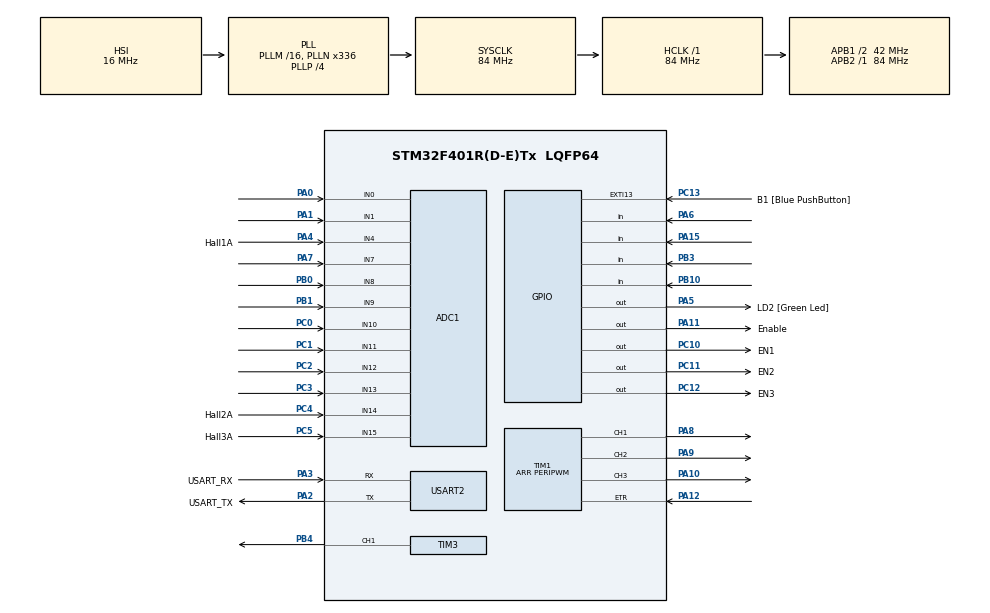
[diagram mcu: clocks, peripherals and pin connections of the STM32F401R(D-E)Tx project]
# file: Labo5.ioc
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ADC1.Channel-0\#ChannelRegularConversion=ADC_CHANNEL_9
ADC1.Channel-1\#ChannelRegularConversion=ADC_CHANNEL_4
ADC1.Channel-2\#ChannelRegularConversion=ADC_CHANNEL_14
ADC1.Channel-3\#ChannelRegularConversion=ADC_CHANNEL_15
ADC1.DMAContinuousRequests=ENABLE
ADC1.EOCSelection=ADC_EOC_SEQ_CONV
ADC1.ExternalTrigConv=ADC_EXTERNALTRIGCONV_T4_CC4
ADC1.ExternalTrigConvEdge=ADC_EXTERNALTRIGCONVEDGE_RISINGFALLING
ADC1.NbrOfConversion=4
ADC1.NbrOfConversionFlag=1
ADC1.Rank-0\#ChannelRegularConversion=1
ADC1.Rank-1\#ChannelRegularConversion=2
ADC1.Rank-2\#ChannelRegularConversion=3
ADC1.Rank-3\#ChannelRegularConversion=4
ADC1.SamplingTime-0\#ChannelRegularConversion=ADC_SAMPLETIME_15CYCLES
ADC1.SamplingTime-1\#ChannelRegularConversion=ADC_SAMPLETIME_84CYCLES
ADC1.SamplingTime-2\#ChannelRegularConversion=ADC_SAMPLETIME_84CYCLES
ADC1.SamplingTime-3\#ChannelRegularConversion=ADC_SAMPLETIME_84CYCLES
ADC1.ScanConvMode=ENABLE
ADC1.master=1
Dma.ADC1.0.Direction=DMA_PERIPH_TO_MEMORY
Dma.ADC1.0.FIFOMode=DMA_FIFOMODE_DISABLE
Dma.ADC1.0.Instance=DMA2_Stream0
Dma.ADC1.0.MemDataAlignment=DMA_MDATAALIGN_HALFWORD
Dma.ADC1.0.MemInc=DMA_MINC_ENABLE
Dma.ADC1.0.Mode=DMA_CIRCULAR
Dma.ADC1.0.PeriphDataAlignment=DMA_PDATAALIGN_HALFWORD
Dma.ADC1.0.PeriphInc=DMA_PINC_DISABLE
Dma.ADC1.0.Priority=DMA_PRIORITY_LOW
Dma.Request0=ADC1
Mcu.Family=STM32F4
Mcu.Name=STM32F401R(D-E)Tx
Mcu.Package=LQFP64
Mcu.UserConstants=PERIPWM,1050
NVIC.DMA2_Stream0_IRQn=true\:0\:0\:false\:false\:true\:false\:true\:true
NVIC.PriorityGroup=NVIC_PRIORITYGROUP_0
PA0-WKUP.GPIO_Mode=GPIO_MODE_ANALOG
PA0-WKUP.GPIO_PuPd=GPIO_NOPULL
PA0-WKUP.Signal=ADCx_IN0
PA1.Signal=ADCx_IN1
PA10.Signal=S_TIM1_CH3
PA11.GPIO_Label=Enable
PA11.Signal=GPIO_Output
PA12.Signal=S_TIM1_ETR
PA13.GPIO_Label=TMS
PA13.Mode=Serial_Wire
PA13.Signal=SYS_JTMS-SWDIO
PA14.GPIO_Label=TCK
PA14.Mode=Serial_Wire
PA14.Signal=SYS_JTCK-SWCLK
PA15.Signal=GPIO_Input
PA2.GPIO_Label=USART_TX
PA2.GPIO_Mode=GPIO_MODE_AF_PP
PA2.GPIO_PuPd=GPIO_NOPULL
PA2.GPIO_Speed=GPIO_SPEED_FREQ_LOW
PA2.Mode=Asynchronous
PA2.Signal=USART2_TX
PA3.GPIO_Label=USART_RX
PA3.GPIO_Mode=GPIO_MODE_AF_PP
PA3.GPIO_PuPd=GPIO_NOPULL
PA3.GPIO_Speed=GPIO_SPEED_FREQ_LOW
PA3.Mode=Asynchronous
PA3.Signal=USART2_RX
PA4.GPIO_Label=Hall1A
PA4.Signal=ADCx_IN4
PA5.GPIO_Label=LD2 [Green Led]
PA5.GPIO_Mode=GPIO_MODE_OUTPUT_PP
PA5.GPIO_PuPd=GPIO_NOPULL
PA5.GPIO_Speed=GPIO_SPEED_FREQ_LOW
PA5.Signal=GPIO_Output
PA6.Signal=GPIO_Input
PA7.Signal=ADCx_IN7
PA8.Signal=S_TIM1_CH1
PA9.Signal=S_TIM1_CH2
PB0.Signal=ADCx_IN8
PB1.Signal=ADCx_IN9
PB10.Signal=GPIO_Input
PB3.Signal=GPIO_Input
PB4.Signal=S_TIM3_CH1
PC0.Signal=ADCx_IN10
PC1.Signal=ADCx_IN11
PC10.GPIO_Label=EN1
PC10.Signal=GPIO_Output
PC11.GPIO_Label=EN2
PC11.Signal=GPIO_Output
PC12.GPIO_Label=EN3
PC12.Signal=GPIO_Output
PC13-ANTI_TAMP.GPIO_Label=B1 [Blue PushButton]
PC13-ANTI_TAMP.GPIO_ModeDefaultEXTI=GPIO_MODE_IT_FALLING
PC13-ANTI_TAMP.GPIO_PuPd=GPIO_NOPULL
PC13-ANTI_TAMP.Signal=GPXTI13
PC14-OSC32_IN.Mode=LSE-External-Oscillator
PC14-OSC32_IN.Signal=RCC_OSC32_IN
PC15-OSC32_OUT.Mode=LSE-External-Oscillator
PC15-OSC32_OUT.Signal=RCC_OSC32_OUT
PC2.Signal=ADCx_IN12
PC3.Signal=ADCx_IN13
PC4.GPIO_Label=Hall2A
PC4.Signal=ADCx_IN14
PC5.GPIO_Label=Hall3A
PC5.Signal=ADCx_IN15
PH0\ -\ OSC_IN.Mode=HSE-External-Clock-Source
PH0\ -\ OSC_IN.Signal=RCC_OSC_IN
PH1\ -\ OSC_OUT.Mode=HSE-External-Clock-Source
PH1\ -\ OSC_OUT.Signal=RCC_OSC_OUT
ProjectManager.HeapSize=0x200
ProjectManager.StackSize=0x400
ProjectManager.TargetToolchain=STM32CubeIDE
RCC.48MHZClocksFreq_Value=48000000
RCC.AHBFreq_Value=84000000
RCC.APB1CLKDivider=RCC_HCLK_DIV2
RCC.APB1Freq_Value=42000000
RCC.APB1TimFreq_Value=84000000
RCC.APB2Freq_Value=84000000
RCC.APB2TimFreq_Value=84000000
RCC.CortexFreq_Value=84000000
RCC.HCLKFreq_Value=84000000
RCC.HSE_VALUE=8000000
RCC.HSI_VALUE=16000000
RCC.PLLN=336
RCC.PLLP=RCC_PLLP_DIV4
RCC.PLLQ=7
RCC.SYSCLKFreq_VALUE=84000000
RCC.SYSCLKSource=RCC_SYSCLKSOURCE_PLLCLK
RCC.VCOOutputFreq_Value=336000000
SH.ADCx_IN0.0=ADC1_IN0,IN0
SH.ADCx_IN1.0=ADC1_IN1,IN1
SH.ADCx_IN10.0=ADC1_IN10,IN10
SH.ADCx_IN11.0=ADC1_IN11,IN11
SH.ADCx_IN12.0=ADC1_IN12,IN12
SH.ADCx_IN13.0=ADC1_IN13,IN13
SH.ADCx_IN14.0=ADC1_IN14,IN14
SH.ADCx_IN15.0=ADC1_IN15,IN15
SH.ADCx_IN4.0=ADC1_IN4,IN4
SH.ADCx_IN7.0=ADC1_IN7,IN7
SH.ADCx_IN8.0=ADC1_IN8,IN8
SH.ADCx_IN9.0=ADC1_IN9,IN9
SH.S_TIM1_CH1.0=TIM1_CH1,PWM Generation1 CH1
SH.S_TIM1_CH2.0=TIM1_CH2,PWM Generation2 CH2
SH.S_TIM1_CH3.0=TIM1_CH3,PWM Generation3 CH3
SH.S_TIM1_ETR.0=TIM1_ETR,ETR-as-clearing-source
SH.S_TIM3_CH1.0=TIM3_CH1,PWM Generation1 CH1
TIM1.Channel-PWM\ Generation1\ CH1=TIM_CHANNEL_1
TIM1.Channel-PWM\ Generation2\ CH2=TIM_CHANNEL_2
TIM1.Channel-PWM\ Generation3\ CH3=TIM_CHANNEL_3
TIM1.CounterMode=TIM_COUNTERMODE_CENTERALIGNED1
TIM1.Period=PERIPWM
TIM1.TIM_MasterOutputTrigger=TIM_TRGO_ENABLE
TIM1.TIM_MasterSlaveMode=TIM_MASTERSLAVEMODE_ENABLE
TIM3.Channel-PWM\ Generation1\ CH1=TIM_CHANNEL_1
TIM3.CounterMode=TIM_COUNTERMODE_CENTERALIGNED1
TIM3.Period=PERIPWM
TIM3.TIM_MasterOutputTrigger=TIM_TRGO_UPDATE
TIM3.TIM_MasterSlaveMode=TIM_MASTERSLAVEMODE_ENABLE
TIM4.Channel-Output\ Compare4\ No\ Output=TIM_CHANNEL_4
TIM4.CounterMode=TIM_COUNTERMODE_CENTERALIGNED1
TIM4.OCMode_4=TIM_OCMODE_TOGGLE
TIM4.Period=PERIPWM
TIM4.Prescaler=1
USART2.VirtualMode=VM_ASYNC
VP_TIM1_VS_ClockSourceINT.Mode=Internal
VP_TIM3_VS_ClockSourceINT.Mode=Internal
VP_TIM4_VS_ClockSourceINT.Mode=Internal
VP_TIM4_VS_ClockSourceITR.Mode=TriggerSource_ITR0
VP_TIM4_VS_ControllerModeGated.Mode=Gated Mode
VP_TIM4_VS_no_output4.Mode=Output Compare4 No Output
board=NUCLEO-F401RE

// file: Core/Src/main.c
/* USER CODE BEGIN Header */
/**
  ******************************************************************************
  * @file           : main.c
  * @brief          : Main program body
  ******************************************************************************
  * @attention
  *
  * Copyright (c) 2023 STMicroelectronics.
  * All rights reserved.
  *
  * This software is licensed under terms that can be found in the LICENSE file
  * in the root directory of this software component.
  * If no LICENSE file comes with this software, it is provided AS-IS.
  *
  ******************************************************************************
  */
/* USER CODE END Header */
#include "main.h"

/* USER CODE BEGIN Includes */
#include "calc_sinusM.h"
/* USER CODE END Includes */

ADC_HandleTypeDef hadc1;
DMA_HandleTypeDef hdma_adc1;

TIM_HandleTypeDef htim1;
TIM_HandleTypeDef htim3;
TIM_HandleTypeDef htim4;

UART_HandleTypeDef huart2;

/* USER CODE BEGIN PV */

uint16_t resultats[4];
uint16_t halls[3]; // since its uint16_t, we need to move pointer by 2.
float dephasage = 0.0f;
float scale_halls[3];
float sinusM[3];
uint8_t in[8] = {0, 4, 1, 4, 2, 2, 1, 0};

/* USER CODE END PV */

void SystemClock_Config(void);
static void MX_GPIO_Init(void);
static void MX_DMA_Init(void);
static void MX_USART2_UART_Init(void);
static void MX_ADC1_Init(void);
static void MX_TIM1_Init(void);
static void MX_TIM3_Init(void);
static void MX_TIM4_Init(void);

int main(void)
{

  /* MCU Configuration--------------------------------------------------------*/

  /* Reset of all peripherals, Initializes the Flash interface and the Systick. */
  HAL_Init();

  /* Configure the system clock */
  SystemClock_Config();

  /* Initialize all configured peripherals */
  MX_GPIO_Init();
  MX_DMA_Init();
  MX_USART2_UART_Init();
  MX_ADC1_Init();
  MX_TIM1_Init();
  MX_TIM3_Init();
  MX_TIM4_Init();
  /* USER CODE BEGIN 2 */

  //Set timers
  HAL_TIM_PWM_Start(&htim3, TIM_CHANNEL_1);

  HAL_TIM_OC_Start(&htim4, TIM_CHANNEL_4);

  HAL_TIM_PWM_Start(&htim1, TIM_CHANNEL_1);
  HAL_TIM_PWM_Start(&htim1, TIM_CHANNEL_2);
  HAL_TIM_PWM_Start(&htim1, TIM_CHANNEL_3);

  // start ADC
  HAL_ADC_Start_DMA(&hadc1, (uint32_t*) resultats, 4);

  // Set Enables at level high
  HAL_GPIO_WritePin(EN1_GPIO_Port, EN1_Pin, 1);
  HAL_GPIO_WritePin(EN2_GPIO_Port, EN2_Pin, 1);
  HAL_GPIO_WritePin(EN3_GPIO_Port, EN3_Pin, 1);

  HAL_GPIO_WritePin(Enable_GPIO_Port, Enable_Pin, 1);

  /* USER CODE END 2 */

  /* Infinite loop */
  /* USER CODE BEGIN WHILE */
  while (1)
  {
	// this is the infinite loop
	  calc_params_sinusM(dephasage);
    /* USER CODE END WHILE */

  }
}

void SystemClock_Config(void)
{
  RCC_OscInitTypeDef RCC_OscInitStruct = {0};
  RCC_ClkInitTypeDef RCC_ClkInitStruct = {0};

  /** Configure the main internal regulator output voltage
  */
  __HAL_RCC_PWR_CLK_ENABLE();
  __HAL_PWR_VOLTAGESCALING_CONFIG(PWR_REGULATOR_VOLTAGE_SCALE2);

  /** Initializes the RCC Oscillators according to the specified parameters
  * in the RCC_OscInitTypeDef structure.
  */
  RCC_OscInitStruct.OscillatorType = RCC_OSCILLATORTYPE_HSI;
  RCC_OscInitStruct.HSIState = RCC_HSI_ON;
  RCC_OscInitStruct.HSICalibrationValue = RCC_HSICALIBRATION_DEFAULT;
  RCC_OscInitStruct.PLL.PLLState = RCC_PLL_ON;
  RCC_OscInitStruct.PLL.PLLSource = RCC_PLLSOURCE_HSI;
  RCC_OscInitStruct.PLL.PLLM = 16;
  RCC_OscInitStruct.PLL.PLLN = 336;
  RCC_OscInitStruct.PLL.PLLP = RCC_PLLP_DIV4;
  RCC_OscInitStruct.PLL.PLLQ = 7;
  if (HAL_RCC_OscConfig(&RCC_OscInitStruct) != HAL_OK)
  {
    Error_Handler();
  }

  /** Initializes the CPU, AHB and APB buses clocks
  */
  RCC_ClkInitStruct.ClockType = RCC_CLOCKTYPE_HCLK|RCC_CLOCKTYPE_SYSCLK
                              |RCC_CLOCKTYPE_PCLK1|RCC_CLOCKTYPE_PCLK2;
  RCC_ClkInitStruct.SYSCLKSource = RCC_SYSCLKSOURCE_PLLCLK;
  RCC_ClkInitStruct.AHBCLKDivider = RCC_SYSCLK_DIV1;
  RCC_ClkInitStruct.APB1CLKDivider = RCC_HCLK_DIV2;
  RCC_ClkInitStruct.APB2CLKDivider = RCC_HCLK_DIV1;

  if (HAL_RCC_ClockConfig(&RCC_ClkInitStruct, FLASH_LATENCY_2) != HAL_OK)
  {
    Error_Handler();
  }
}

static void MX_ADC1_Init(void)
{

  ADC_ChannelConfTypeDef sConfig = {0};

  /** Configure the global features of the ADC (Clock, Resolution, Data Alignment and number of conversion)
  */
  hadc1.Instance = ADC1;
  hadc1.Init.ClockPrescaler = ADC_CLOCK_SYNC_PCLK_DIV4;
  hadc1.Init.Resolution = ADC_RESOLUTION_12B;
  hadc1.Init.ScanConvMode = ENABLE;
  hadc1.Init.ContinuousConvMode = DISABLE;
  hadc1.Init.DiscontinuousConvMode = DISABLE;
  hadc1.Init.ExternalTrigConvEdge = ADC_EXTERNALTRIGCONVEDGE_RISINGFALLING;
  hadc1.Init.ExternalTrigConv = ADC_EXTERNALTRIGCONV_T4_CC4;
  hadc1.Init.DataAlign = ADC_DATAALIGN_RIGHT;
  hadc1.Init.NbrOfConversion = 4;
  hadc1.Init.DMAContinuousRequests = ENABLE;
  hadc1.Init.EOCSelection = ADC_EOC_SEQ_CONV;
  if (HAL_ADC_Init(&hadc1) != HAL_OK)
  {
    Error_Handler();
  }

  /** Configure for the selected ADC regular channel its corresponding rank in the sequencer and its sample time.
  */
  sConfig.Channel = ADC_CHANNEL_9;
  sConfig.Rank = 1;
  sConfig.SamplingTime = ADC_SAMPLETIME_15CYCLES;
  if (HAL_ADC_ConfigChannel(&hadc1, &sConfig) != HAL_OK)
  {
    Error_Handler();
  }

  /** Configure for the selected ADC regular channel its corresponding rank in the sequencer and its sample time.
  */
  sConfig.Channel = ADC_CHANNEL_4;
  sConfig.Rank = 2;
  sConfig.SamplingTime = ADC_SAMPLETIME_84CYCLES;
  if (HAL_ADC_ConfigChannel(&hadc1, &sConfig) != HAL_OK)
  {
    Error_Handler();
  }

  /** Configure for the selected ADC regular channel its corresponding rank in the sequencer and its sample time.
  */
  sConfig.Channel = ADC_CHANNEL_14;
  sConfig.Rank = 3;
  if (HAL_ADC_ConfigChannel(&hadc1, &sConfig) != HAL_OK)
  {
    Error_Handler();
  }

  /** Configure for the selected ADC regular channel its corresponding rank in the sequencer and its sample time.
  */
  sConfig.Channel = ADC_CHANNEL_15;
  sConfig.Rank = 4;
  if (HAL_ADC_ConfigChannel(&hadc1, &sConfig) != HAL_OK)
  {
    Error_Handler();
  }

}

static void MX_TIM1_Init(void)
{

  TIM_ClockConfigTypeDef sClockSourceConfig = {0};
  TIM_MasterConfigTypeDef sMasterConfig = {0};
  TIM_OC_InitTypeDef sConfigOC = {0};
  TIM_BreakDeadTimeConfigTypeDef sBreakDeadTimeConfig = {0};

  htim1.Instance = TIM1;
  htim1.Init.Prescaler = 0;
  htim1.Init.CounterMode = TIM_COUNTERMODE_CENTERALIGNED1;
  htim1.Init.Period = PERIPWM;
  htim1.Init.ClockDivision = TIM_CLOCKDIVISION_DIV1;
  htim1.Init.RepetitionCounter = 0;
  htim1.Init.AutoReloadPreload = TIM_AUTORELOAD_PRELOAD_DISABLE;
  if (HAL_TIM_Base_Init(&htim1) != HAL_OK)
  {
    Error_Handler();
  }
  sClockSourceConfig.ClockSource = TIM_CLOCKSOURCE_INTERNAL;
  if (HAL_TIM_ConfigClockSource(&htim1, &sClockSourceConfig) != HAL_OK)
  {
    Error_Handler();
  }
  if (HAL_TIM_PWM_Init(&htim1) != HAL_OK)
  {
    Error_Handler();
  }
  sMasterConfig.MasterOutputTrigger = TIM_TRGO_ENABLE;
  sMasterConfig.MasterSlaveMode = TIM_MASTERSLAVEMODE_ENABLE;
  if (HAL_TIMEx_MasterConfigSynchronization(&htim1, &sMasterConfig) != HAL_OK)
  {
    Error_Handler();
  }
  sConfigOC.OCMode = TIM_OCMODE_PWM1;
  sConfigOC.Pulse = 0;
  sConfigOC.OCPolarity = TIM_OCPOLARITY_HIGH;
  sConfigOC.OCNPolarity = TIM_OCNPOLARITY_HIGH;
  sConfigOC.OCFastMode = TIM_OCFAST_DISABLE;
  sConfigOC.OCIdleState = TIM_OCIDLESTATE_RESET;
  sConfigOC.OCNIdleState = TIM_OCNIDLESTATE_RESET;
  if (HAL_TIM_PWM_ConfigChannel(&htim1, &sConfigOC, TIM_CHANNEL_1) != HAL_OK)
  {
    Error_Handler();
  }
  if (HAL_TIM_PWM_ConfigChannel(&htim1, &sConfigOC, TIM_CHANNEL_2) != HAL_OK)
  {
    Error_Handler();
  }
  if (HAL_TIM_PWM_ConfigChannel(&htim1, &sConfigOC, TIM_CHANNEL_3) != HAL_OK)
  {
    Error_Handler();
  }
  sBreakDeadTimeConfig.OffStateRunMode = TIM_OSSR_DISABLE;
  sBreakDeadTimeConfig.OffStateIDLEMode = TIM_OSSI_DISABLE;
  sBreakDeadTimeConfig.LockLevel = TIM_LOCKLEVEL_OFF;
  sBreakDeadTimeConfig.DeadTime = 0;
  sBreakDeadTimeConfig.BreakState = TIM_BREAK_DISABLE;
  sBreakDeadTimeConfig.BreakPolarity = TIM_BREAKPOLARITY_HIGH;
  sBreakDeadTimeConfig.AutomaticOutput = TIM_AUTOMATICOUTPUT_DISABLE;
  if (HAL_TIMEx_ConfigBreakDeadTime(&htim1, &sBreakDeadTimeConfig) != HAL_OK)
  {
    Error_Handler();
  }
  HAL_TIM_MspPostInit(&htim1);

}

static void MX_TIM3_Init(void)
{

  TIM_ClockConfigTypeDef sClockSourceConfig = {0};
  TIM_MasterConfigTypeDef sMasterConfig = {0};
  TIM_OC_InitTypeDef sConfigOC = {0};

  htim3.Instance = TIM3;
  htim3.Init.Prescaler = 0;
  htim3.Init.CounterMode = TIM_COUNTERMODE_CENTERALIGNED1;
  htim3.Init.Period = PERIPWM;
  htim3.Init.ClockDivision = TIM_CLOCKDIVISION_DIV1;
  htim3.Init.AutoReloadPreload = TIM_AUTORELOAD_PRELOAD_DISABLE;
  if (HAL_TIM_Base_Init(&htim3) != HAL_OK)
  {
    Error_Handler();
  }
  sClockSourceConfig.ClockSource = TIM_CLOCKSOURCE_INTERNAL;
  if (HAL_TIM_ConfigClockSource(&htim3, &sClockSourceConfig) != HAL_OK)
  {
    Error_Handler();
  }
  if (HAL_TIM_PWM_Init(&htim3) != HAL_OK)
  {
    Error_Handler();
  }
  sMasterConfig.MasterOutputTrigger = TIM_TRGO_UPDATE;
  sMasterConfig.MasterSlaveMode = TIM_MASTERSLAVEMODE_ENABLE;
  if (HAL_TIMEx_MasterConfigSynchronization(&htim3, &sMasterConfig) != HAL_OK)
  {
    Error_Handler();
  }
  sConfigOC.OCMode = TIM_OCMODE_PWM1;
  sConfigOC.Pulse = 0;
  sConfigOC.OCPolarity = TIM_OCPOLARITY_HIGH;
  sConfigOC.OCFastMode = TIM_OCFAST_DISABLE;
  if (HAL_TIM_PWM_ConfigChannel(&htim3, &sConfigOC, TIM_CHANNEL_1) != HAL_OK)
  {
    Error_Handler();
  }
  HAL_TIM_MspPostInit(&htim3);

}

static void MX_TIM4_Init(void)
{

  TIM_ClockConfigTypeDef sClockSourceConfig = {0};
  TIM_SlaveConfigTypeDef sSlaveConfig = {0};
  TIM_MasterConfigTypeDef sMasterConfig = {0};
  TIM_OC_InitTypeDef sConfigOC = {0};

  htim4.Instance = TIM4;
  htim4.Init.Prescaler = 1;
  htim4.Init.CounterMode = TIM_COUNTERMODE_CENTERALIGNED1;
  htim4.Init.Period = PERIPWM;
  htim4.Init.ClockDivision = TIM_CLOCKDIVISION_DIV1;
  htim4.Init.AutoReloadPreload = TIM_AUTORELOAD_PRELOAD_DISABLE;
  if (HAL_TIM_Base_Init(&htim4) != HAL_OK)
  {
    Error_Handler();
  }
  sClockSourceConfig.ClockSource = TIM_CLOCKSOURCE_INTERNAL;
  if (HAL_TIM_ConfigClockSource(&htim4, &sClockSourceConfig) != HAL_OK)
  {
    Error_Handler();
  }
  if (HAL_TIM_OC_Init(&htim4) != HAL_OK)
  {
    Error_Handler();
  }
  sSlaveConfig.SlaveMode = TIM_SLAVEMODE_GATED;
  sSlaveConfig.InputTrigger = TIM_TS_ITR0;
  if (HAL_TIM_SlaveConfigSynchro(&htim4, &sSlaveConfig) != HAL_OK)
  {
    Error_Handler();
  }
  sMasterConfig.MasterOutputTrigger = TIM_TRGO_RESET;
  sMasterConfig.MasterSlaveMode = TIM_MASTERSLAVEMODE_DISABLE;
  if (HAL_TIMEx_MasterConfigSynchronization(&htim4, &sMasterConfig) != HAL_OK)
  {
    Error_Handler();
  }
  sConfigOC.OCMode = TIM_OCMODE_TOGGLE;
  sConfigOC.Pulse = 0;
  sConfigOC.OCPolarity = TIM_OCPOLARITY_HIGH;
  sConfigOC.OCFastMode = TIM_OCFAST_DISABLE;
  if (HAL_TIM_OC_ConfigChannel(&htim4, &sConfigOC, TIM_CHANNEL_4) != HAL_OK)
  {
    Error_Handler();
  }

}

static void MX_USART2_UART_Init(void)
{

  huart2.Instance = USART2;
  huart2.Init.BaudRate = 115200;
  huart2.Init.WordLength = UART_WORDLENGTH_8B;
  huart2.Init.StopBits = UART_STOPBITS_1;
  huart2.Init.Parity = UART_PARITY_NONE;
  huart2.Init.Mode = UART_MODE_TX_RX;
  huart2.Init.HwFlowCtl = UART_HWCONTROL_NONE;
  huart2.Init.OverSampling = UART_OVERSAMPLING_16;
  if (HAL_UART_Init(&huart2) != HAL_OK)
  {
    Error_Handler();
  }

}

static void MX_DMA_Init(void)
{

  /* DMA controller clock enable */
  __HAL_RCC_DMA2_CLK_ENABLE();

  /* DMA interrupt init */
  /* DMA2_Stream0_IRQn interrupt configuration */
  HAL_NVIC_SetPriority(DMA2_Stream0_IRQn, 0, 0);
  HAL_NVIC_EnableIRQ(DMA2_Stream0_IRQn);

}

static void MX_GPIO_Init(void)
{
  GPIO_InitTypeDef GPIO_InitStruct = {0};

  /* GPIO Ports Clock Enable */
  __HAL_RCC_GPIOC_CLK_ENABLE();
  __HAL_RCC_GPIOH_CLK_ENABLE();
  __HAL_RCC_GPIOA_CLK_ENABLE();
  __HAL_RCC_GPIOB_CLK_ENABLE();

  /*Configure GPIO pin Output Level */
  HAL_GPIO_WritePin(GPIOA, LD2_Pin|Enable_Pin, GPIO_PIN_RESET);

  /*Configure GPIO pin Output Level */
  HAL_GPIO_WritePin(GPIOC, EN1_Pin|EN2_Pin|EN3_Pin, GPIO_PIN_RESET);

  /*Configure GPIO pin : B1_Pin */
  GPIO_InitStruct.Pin = B1_Pin;
  GPIO_InitStruct.Mode = GPIO_MODE_IT_FALLING;
  GPIO_InitStruct.Pull = GPIO_NOPULL;
  HAL_GPIO_Init(B1_GPIO_Port, &GPIO_InitStruct);

  /*Configure GPIO pins : LD2_Pin Enable_Pin */
  GPIO_InitStruct.Pin = LD2_Pin|Enable_Pin;
  GPIO_InitStruct.Mode = GPIO_MODE_OUTPUT_PP;
  GPIO_InitStruct.Pull = GPIO_NOPULL;
  GPIO_InitStruct.Speed = GPIO_SPEED_FREQ_LOW;
  HAL_GPIO_Init(GPIOA, &GPIO_InitStruct);

  /*Configure GPIO pins : PA6 PA15 */
  GPIO_InitStruct.Pin = GPIO_PIN_6|GPIO_PIN_15;
  GPIO_InitStruct.Mode = GPIO_MODE_INPUT;
  GPIO_InitStruct.Pull = GPIO_NOPULL;
  HAL_GPIO_Init(GPIOA, &GPIO_InitStruct);

  /*Configure GPIO pins : PB10 PB3 */
  GPIO_InitStruct.Pin = GPIO_PIN_10|GPIO_PIN_3;
  GPIO_InitStruct.Mode = GPIO_MODE_INPUT;
  GPIO_InitStruct.Pull = GPIO_NOPULL;
  HAL_GPIO_Init(GPIOB, &GPIO_InitStruct);

  /*Configure GPIO pins : EN1_Pin EN2_Pin EN3_Pin */
  GPIO_InitStruct.Pin = EN1_Pin|EN2_Pin|EN3_Pin;
  GPIO_InitStruct.Mode = GPIO_MODE_OUTPUT_PP;
  GPIO_InitStruct.Pull = GPIO_NOPULL;
  GPIO_InitStruct.Speed = GPIO_SPEED_FREQ_LOW;
  HAL_GPIO_Init(GPIOC, &GPIO_InitStruct);

}

/* USER CODE BEGIN 4 */

void HAL_ADC_ConvCpltCallback(ADC_HandleTypeDef* AdcHandle){
	static uint16_t counter = 0;
	counter++;
	if (counter == 20000){
		counter = 0;
		HAL_GPIO_TogglePin(LD2_GPIO_Port, LD2_Pin);
	}

	halls[0] = resultats[1];
	halls[1] = resultats[2];
	halls[2] = resultats[3];

	// Run with dephasage control.

	dephasage = (float) resultats[0] * 0.0015339f; // 2.0 * pi / 4096

	hall_scale(halls,  scale_halls);
	calc_sinusM(scale_halls, sinusM);

	TIM1->CCR1 = (uint16_t)(sinusM[0]*(float)(PERIPWM >> 1));
	TIM1->CCR2 = (uint16_t)(sinusM[1]*(float)(PERIPWM >> 1));
	TIM1->CCR3 = (uint16_t)(sinusM[2]*(float)(PERIPWM >> 1));

	TIM3->CCR1 = PERIPWM;

	// Run with voltage control.
/*
	dephasage = (float) 1328 * 0.0015339f;

	hall_scale(halls,  scale_halls);
	calc_sinusM(scale_halls, sinusM);

	TIM1->CCR1 = (uint16_t)(sinusM[0]*(float)(resultats[0])) * PERIPWM >> 14;
	TIM1->CCR2 = (uint16_t)(sinusM[1]*(float)(resultats[0])) * PERIPWM >> 14;
	TIM1->CCR3 = (uint16_t)(sinusM[2]*(float)(resultats[0])) * PERIPWM >> 14;

	TIM3->CCR1 = PERIPWM;
*/

}
/* USER CODE END 4 */

void Error_Handler(void)
{
  __disable_irq();
  while (1)
  {
  }
}
